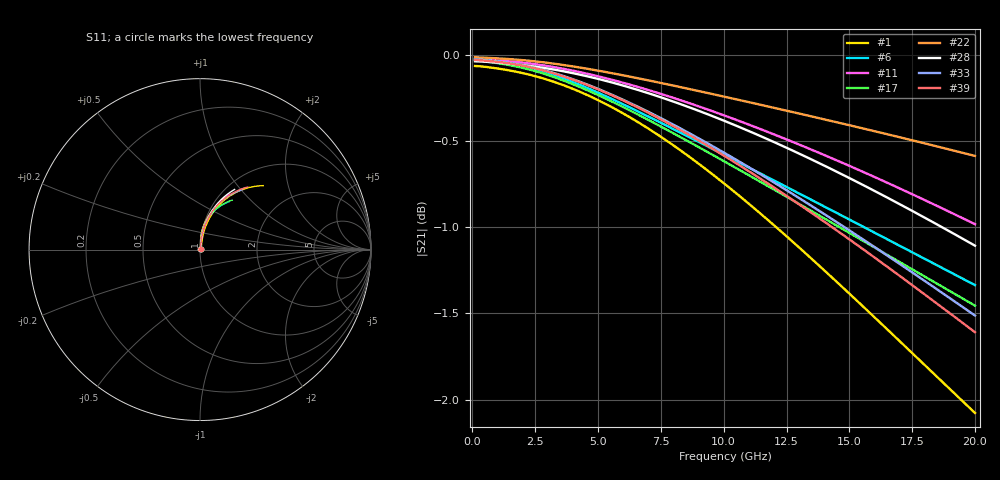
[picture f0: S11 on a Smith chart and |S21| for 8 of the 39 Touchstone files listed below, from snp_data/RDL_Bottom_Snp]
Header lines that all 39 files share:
! Touchstone file exported from HFSS 2024.1.0
!  Design:  RDL_bottom
!  Setup:  Setup1
!  Solution:  Sweep
! Variables:
# GHz S MA R 50.000000
! Terminal data exported
! Port[1] = RDL1_T1
! Port[2] = RDL1_T2
Fixed: dtsv = 10.80580581um, hbump = 3um, lrdl = 100um, p = 40, rhole = 1um, t = 450um, trdl = 3.915915916um, wrdl = 20um
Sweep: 100 MHz to 20 GHz
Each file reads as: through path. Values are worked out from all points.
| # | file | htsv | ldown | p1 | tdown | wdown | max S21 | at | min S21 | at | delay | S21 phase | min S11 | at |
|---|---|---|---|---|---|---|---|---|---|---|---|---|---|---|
| 1 | dut534.s2p | 82.69um | 611.1um | 46.67um | 2.6um | 11.19um | -0.07 dB | 100 MHz | -2.1 dB | 20 GHz | 6.58 ps | -27 deg at 10.1 GHz | -41.7 dB | 100 MHz |
| 2 | dut535.s2p | 86.73um | 426.96um | 47.09um | 2.81um | 11.18um | -0.04 dB | 100 MHz | -1.3 dB | 20 GHz | 4.96 ps | -20 deg at 10.1 GHz | -45.2 dB | 100 MHz |
| 3 | dut538.s2p | 82.56um | 323.57um | 41.31um | 3.97um | 20.24um | -0.01 dB | 100 MHz | -0.6 dB | 20 GHz | 3.12 ps | -12 deg at 10.1 GHz | -54.2 dB | 100 MHz |
| 4 | dut543.s2p | 91.21um | 373.57um | 49.88um | 2.06um | 21.88um | -0.03 dB | 100 MHz | -0.9 dB | 20 GHz | 4.05 ps | -16 deg at 10.1 GHz | -48.8 dB | 100 MHz |
| 5 | dut546.s2p | 60.38um | 474.34um | 54.75um | 2.19um | 20.83um | -0.03 dB | 100 MHz | -1.3 dB | 20 GHz | 5.15 ps | -21 deg at 10.1 GHz | -47.0 dB | 100 MHz |
| 6 | dut547.s2p | 66.45um | 623.82um | 47.42um | 3.94um | 24.77um | -0.02 dB | 100 MHz | -1.3 dB | 20 GHz | 5.67 ps | -23 deg at 10.1 GHz | -50.5 dB | 100 MHz |
| 7 | dut550.s2p | 80.23um | 284.81um | 41.1um | 2.51um | 14.48um | -0.03 dB | 100 MHz | -0.6 dB | 20 GHz | 3.2 ps | -12 deg at 10.1 GHz | -49.6 dB | 100 MHz |
| 8 | dut552.s2p | 72.06um | 426.08um | 50.63um | 2.13um | 14.12um | -0.05 dB | 100 MHz | -1.3 dB | 20 GHz | 4.98 ps | -20 deg at 10.1 GHz | -44.8 dB | 100 MHz |
| 9 | dut554.s2p | 81.05um | 449.97um | 49.44um | 2.07um | 24.15um | -0.03 dB | 100 MHz | -1.0 dB | 20 GHz | 4.58 ps | -18 deg at 10.1 GHz | -48.2 dB | 100 MHz |
| 10 | dut556.s2p | 90.48um | 611.91um | 58.55um | 2.43um | 20.73um | -0.04 dB | 100 MHz | -1.9 dB | 20 GHz | 6.52 ps | -27 deg at 10.1 GHz | -45.5 dB | 100 MHz |
| 11 | dut558.s2p | 58.44um | 374.38um | 47.64um | 3.86um | 12.26um | -0.03 dB | 100 MHz | -1.0 dB | 20 GHz | 4.25 ps | -17 deg at 10.1 GHz | -49.0 dB | 100 MHz |
| 12 | dut559.s2p | 99.69um | 631.16um | 55.06um | 2.12um | 21.4um | -0.05 dB | 100 MHz | -1.8 dB | 20 GHz | 6.56 ps | -27 deg at 10.1 GHz | -44.7 dB | 100 MHz |
| 13 | dut560.s2p | 59.73um | 161.06um | 40.89um | 3.68um | 23.86um | -0.01 dB | 100 MHz | -0.2 dB | 20 GHz | 1.59 ps | -6 deg at 10.1 GHz | -59.8 dB | 100 MHz |
| 14 | dut562.s2p | 91.77um | 440.11um | 56.33um | 4.26um | 22.65um | -0.02 dB | 100 MHz | -1.1 dB | 20 GHz | 4.59 ps | -18 deg at 10.1 GHz | -52.2 dB | 100 MHz |
| 15 | dut565.s2p | 88.44um | 417.67um | 44.07um | 2.65um | 23.52um | -0.02 dB | 100 MHz | -0.8 dB | 20 GHz | 4.02 ps | -16 deg at 10.1 GHz | -50.6 dB | 100 MHz |
| 16 | dut567.s2p | 65.57um | 234.66um | 46.32um | 4.9um | 28.5um | -0.01 dB | 100 MHz | -0.4 dB | 20 GHz | 2.14 ps | -9 deg at 10.1 GHz | -60.4 dB | 100 MHz |
| 17 | dut569.s2p | 82.66um | 628.71um | 49.43um | 2.73um | 25.61um | -0.03 dB | 100 MHz | -1.5 dB | 20 GHz | 5.94 ps | -24 deg at 10.1 GHz | -48.2 dB | 100 MHz |
| 18 | dut574.s2p | 68.37um | 158.43um | 59.8um | 3.79um | 14.5um | -0.01 dB | 100 MHz | -0.4 dB | 20 GHz | 2.32 ps | -9 deg at 10.1 GHz | -55.6 dB | 100 MHz |
| 19 | dut576.s2p | 70.26um | 274.26um | 42.37um | 3.44um | 17.47um | -0.02 dB | 100 MHz | -0.5 dB | 20 GHz | 2.9 ps | -11 deg at 10.1 GHz | -53.3 dB | 100 MHz |
| 20 | dut577.s2p | 51.32um | 420.38um | 49.43um | 4.43um | 26.52um | -0.01 dB | 100 MHz | -0.8 dB | 20 GHz | 3.88 ps | -16 deg at 10.1 GHz | -54.7 dB | 100 MHz |
| 21 | dut579.s2p | 62.37um | 694.24um | 51.51um | 2.82um | 23.92um | -0.03 dB | 100 MHz | -1.8 dB | 20 GHz | 6.63 ps | -27 deg at 10.1 GHz | -47.0 dB | 100 MHz |
| 22 | dut580.s2p | 84.28um | 287.47um | 49.3um | 3.48um | 20.37um | -0.01 dB | 100 MHz | -0.6 dB | 20 GHz | 3.14 ps | -12 deg at 10.1 GHz | -53.8 dB | 100 MHz |
| 23 | dut585.s2p | 96.09um | 273.9um | 40.45um | 2.63um | 17.54um | -0.02 dB | 100 MHz | -0.5 dB | 20 GHz | 2.91 ps | -11 deg at 10.1 GHz | -51.6 dB | 100 MHz |
| 24 | dut586.s2p | 91.41um | 272.86um | 55.76um | 2.81um | 27.11um | -0.01 dB | 100 MHz | -0.6 dB | 20 GHz | 3 ps | -12 deg at 10.1 GHz | -54.5 dB | 100 MHz |
| 25 | dut587.s2p | 50.57um | 276.4um | 56.61um | 2.33um | 11.14um | -0.03 dB | 100 MHz | -0.9 dB | 20 GHz | 3.82 ps | -15 deg at 10.1 GHz | -47.0 dB | 100 MHz |
| 26 | dut589.s2p | 70.32um | 568.96um | 42.17um | 4.18um | 22.09um | -0.02 dB | 100 MHz | -1.1 dB | 20 GHz | 5.08 ps | -20 deg at 10.1 GHz | -50.9 dB | 100 MHz |
| 27 | dut592.s2p | 93.26um | 433.57um | 45.01um | 2.61um | 22.47um | -0.03 dB | 100 MHz | -0.9 dB | 20 GHz | 4.27 ps | -17 deg at 10.1 GHz | -49.8 dB | 100 MHz |
| 28 | dut594.s2p | 65.74um | 335.52um | 56.53um | 2.41um | 11.87um | -0.04 dB | 100 MHz | -1.1 dB | 20 GHz | 4.39 ps | -17 deg at 10.1 GHz | -46.2 dB | 100 MHz |
| 29 | dut601.s2p | 64.71um | 326.72um | 47.9um | 3.78um | 29.68um | -0.01 dB | 100 MHz | -0.6 dB | 20 GHz | 2.98 ps | -12 deg at 10.1 GHz | -56.6 dB | 100 MHz |
| 30 | dut603.s2p | 79.15um | 179.83um | 47.19um | 4.9um | 12.91um | -0.01 dB | 100 MHz | -0.3 dB | 20 GHz | 2.21 ps | -8 deg at 10.1 GHz | -56.3 dB | 100 MHz |
| 31 | dut607.s2p | 59.19um | 629.62um | 50.38um | 4.2um | 16.02um | -0.03 dB | 100 MHz | -1.8 dB | 20 GHz | 6.32 ps | -26 deg at 10.1 GHz | -47.1 dB | 100 MHz |
| 32 | dut608.s2p | 53.43um | 583.41um | 46.87um | 2.58um | 21.89um | -0.03 dB | 100 MHz | -1.4 dB | 20 GHz | 5.63 ps | -23 deg at 10.1 GHz | -47.1 dB | 100 MHz |
| 33 | dut609.s2p | 67.63um | 509.19um | 57.86um | 3.62um | 17.82um | -0.03 dB | 100 MHz | -1.5 dB | 20 GHz | 5.56 ps | -22 deg at 10.1 GHz | -48.3 dB | 100 MHz |
| 34 | dut616.s2p | 83.17um | 577.48um | 40.49um | 4.14um | 27.06um | -0.02 dB | 100 MHz | -0.9 dB | 20 GHz | 4.71 ps | -19 deg at 10.1 GHz | -52.7 dB | 100 MHz |
| 35 | dut617.s2p | 98um | 111.08um | 40.61um | 4.55um | 13.89um | -0.01 dB | 100 MHz | -0.2 dB | 20 GHz | 1.37 ps | -5 deg at 10.1 GHz | -60.1 dB | 100 MHz |
| 36 | dut622.s2p | 92.19um | 696.66um | 47.56um | 4.62um | 20.25um | -0.02 dB | 100 MHz | -1.7 dB | 20 GHz | 6.5 ps | -26 deg at 10.1 GHz | -48.8 dB | 100 MHz |
| 37 | dut623.s2p | 55.53um | 651.3um | 54.7um | 4.37um | 21.37um | -0.02 dB | 100 MHz | -1.7 dB | 20 GHz | 6.33 ps | -26 deg at 10.1 GHz | -49.0 dB | 100 MHz |
| 38 | dut624.s2p | 74.66um | 266.69um | 59.56um | 4.65um | 21.86um | -0.01 dB | 100 MHz | -0.6 dB | 20 GHz | 3.08 ps | -12 deg at 10.1 GHz | -55.7 dB | 100 MHz |
| 39 | dut629.s2p | 53.59um | 515.45um | 54.54um | 3.92um | 13.95um | -0.03 dB | 100 MHz | -1.6 dB | 20 GHz | 5.66 ps | -23 deg at 10.1 GHz | -47.1 dB | 100 MHz |
